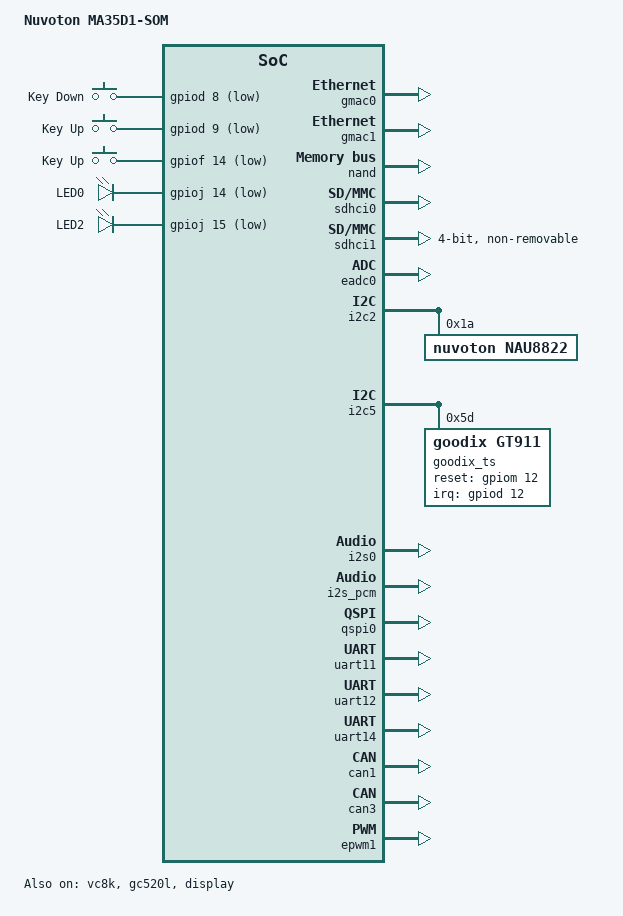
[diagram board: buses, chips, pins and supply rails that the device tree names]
/*
 * Device Tree Source for MA35D1 Evaluation Board (EVB)
 *
 * Copyright (C) 2021 Nuvoton Technology Corp.
 *
 * The code contained herein is licensed under the GNU General Public
 * License. You may obtain a copy of the GNU General Public License
 * Version 2 or later at the following locations:
 *
 * http://www.opensource.org/licenses/gpl-license.html
 * http://www.gnu.org/copyleft/gpl.html
 */

/dts-v1/;

#include "ma35d1.dtsi"

/ {
	model = "Nuvoton MA35D1-SOM";

	chosen {
		bootargs = "root=/dev/mmcblk1p1 rootfstype=ext4 rw rootwait console=ttyS0,115200n8 rdinit=/sbin/init mem=512M";
	};

	reserved-memory {
		display_buf: display_buf@0 {
			reg = <0x0 0x8C800000 0x0 0x3000000>; /* 48MiB */
			no-map;
		};
		vc8k_buf: vc8k_buf@0 {
			reg = <0x0 0x8A800000 0x0 0x2000000>; /* 32MiB */
			no-map;
		};
		gc520l_buf: gc520l_buf@0 {
			reg = <0x0 0x8A000000 0x0 0x800000>; /* 8MiB */
			no-map;
		};
		rproc_buf: rproc_buf@0 {
			reg = <0x0 0x80020000 0x0 0x60000>; /* 384KB */
			no-map;
		};
	};

	gpio_keys_test {
		compatible = "gpio-keys";
		status = "okay";
		autorepeat;
		botton0 {
			label = "Key Down";
			linux,code = <KEY_DOWN>;
			gpios = <&gpiod 8 GPIO_ACTIVE_LOW>;
			wakeup-source;
		};
		button1{
			label ="Key Up";
			linux,code = <KEY_UP>;
			gpios = <&gpiod 9 GPIO_ACTIVE_LOW>;
			wakeup-source;
		};
		button2{
			label ="Key Up";
			linux,code = <KEY_ENTER>;
			gpios = <&gpiof 14 GPIO_ACTIVE_LOW>;
			wakeup-source;
		};
	};

	gpio_leds_test {
		compatible = "gpio-leds";
		status = "okay";
		led0 {
			label = "LED0";
			gpios = <&gpioj 14 GPIO_ACTIVE_LOW>;
		};
		led1 {
			label = "LED2";
			gpios = <&gpioj 15 GPIO_ACTIVE_LOW>;
		};
	};

	volt0_sdhci1: regulator-volt0_sdhci1 {
		compatible = "nuvoton,ma35d1-volt";
		regulator-min-microvolt = <1800000>;
		regulator-max-microvolt = <3300000>;
		regulator-name = "volt0_sdhci1";
		regulator-always-on;
        };
};

&mem {
	device_type = "memory";
	reg = <0x00000000 0x80000000 0 0x40000000>; /* DRAM space - 1, size : 1024MB DRAM */
};

&ccap0 {
        status = "disabled";
	port {
		/* Parallel bus endpoint */
		ccap0_1: endpoint {
			remote-endpoint = <&hm1055_0>;
			hsync-active = <0>;     /* Active low */
			vsync-active = <0>;     /* Active low */
			pclk-sample = <1>;      /* Rising */
		};
	};
};

&i2c3 {
	status = "disabled";
	pinctrl-names = "default";
	pinctrl-0 = <&pinctrl_i2c3>;
	hm1055@24 {
		compatible = "himax,hm1055";
		reg = <0x24>;
		pinctrl-names = "default";
		pinctrl-0 = <&pinctrl_ccap0>;
		clocks = <&clk CCAP0_GATE>;
		clock-names = "xclk";
		reset-gpios = <&gpiom 1 GPIO_ACTIVE_LOW>; /* PM1 */
		powerdown-gpios = <&gpiok 8 GPIO_ACTIVE_HIGH>; /* PK8 */
		port {
			hm1055_0: endpoint {
				remote-endpoint = <&ccap0_1>;
			};
		};
	};
};

&ccap1 {
        status = "disabled";
	port {
		/* Parallel bus endpoint */
		ccap1_1: endpoint {
			remote-endpoint = <&hm1055_1>;
			hsync-active = <0>;     /* Active low */
			vsync-active = <0>;     /* Active low */
			pclk-sample = <1>;      /* Rising */
		};
	};
};

&i2c4 {
	status = "disabled";
	pinctrl-names = "default";
	pinctrl-0 = <&pinctrl_i2c4>;
	hm1055@24 {
		compatible = "himax,hm1055";
		reg = <0x24>;
		pinctrl-names = "default";
                pinctrl-0 = <&pinctrl_ccap1>;
		clocks = <&clk CCAP1_GATE>;
		clock-names = "xclk";
		reset-gpios = <&gpion 14 GPIO_ACTIVE_LOW>; /* PN14 */
		powerdown-gpios = <&gpiod 15 GPIO_ACTIVE_HIGH>; /* PD15 */
		port {
			hm1055_1: endpoint {
				remote-endpoint = <&ccap1_1>;
			};
		};
	};
};

&gmac0 {
	status = "okay";
	pinctrl-names = "default";
	pinctrl-0 = <&pinctrl_gmac0>;
};

&gmac1 {
	status = "okay";
	pinctrl-names = "default";
	pinctrl-0 = <&pinctrl_gmac1>;
};

&ehci0 {
	pinctrl-names = "default";
	pinctrl-0 = <&pinctrl_hsusbh>;
};

&usb {
	pinctrl-names = "default";
	pinctrl-0 = <&pinctrl_usb>;
};

&nand {
	status = "okay";
	pinctrl-names = "default";
	pinctrl-0 = <&pinctrl_nand>;
};

&sdhci0 {
	status = "okay";
	pinctrl-names = "default";
	pinctrl-0 = <&pinctrl_sdhci0>;
};

&sdhci1 {
	status = "okay";
	pinctrl-names = "default";
	pinctrl-1 = <&pinctrl_sdhci1_1_8V>;
	max-frequency = <100000000>;
	bus-width = <4>;
	non-removable;
};

&adc0 {
	pinctrl-names = "default";
	pinctrl-0 = <&pinctrl_adc0>;
};

&eadc0 {
	status = "okay";
	pinctrl-names = "default";
	pinctrl-0 = <&pinctrl_eadc0>;
};

&i2c1 {
	pinctrl-names = "default";
	pinctrl-0 = <&pinctrl_i2c1>;
	status = "disable";

	lt8718: edp-bridge@66 {
		compatible = "nvt, lt8718";
		reg = <0x66>;
		reset-gpios = <&gpiom 12 0x00>;
		clocks = <&clk DCUP_DIV>;
		nuvoton,disp = <&display>;
		lane-count = <2>;
		bl-gpios = <&gpiok 7 GPIO_ACTIVE_HIGH>;
		pwr-gpios = <&gpiok 5 GPIO_ACTIVE_HIGH>;
		bl-brightness = <100>;
		status = "okay";
	};

	lt8918: mipi-bridge@40 {
		compatible = "nvt, lt8918";
		reg = <0x40>;
		clocks = <&clk DCUP_DIV>;
		nuvoton,disp = <&display>;
		status = "disable";
	};
};

&i2c2 {
	status = "okay";
	pinctrl-names = "default";
	pinctrl-0 = <&pinctrl_i2c2>;

	nau8822: nau8822@1a {
		compatible = "nuvoton,nau8822";
		reg = <0x1a> ;
		nuvoton,spk-btl;
	};
};

&i2c5 {
	pinctrl-names = "default";
	pinctrl-0 = <&pinctrl_i2c5>;
	status = "okay";

	goodix_ts@5d {
		compatible = "goodix,gt911";
		status = "okay";
		reg = <0x5d>;
		interrupt-parent = <&gpiod>;
		interrupts = <12 2>;
		reset-gpios = <&gpiom 12 0x00>;
		irq-gpios = <&gpiod 12 0x00>;
		touchscreen-size-x = <1024>;
		touchscreen-size-y = <600>;
		touchscreen-inverted-x = <1>;
		touchscreen-inverted-y = <1>;
	};
};

&i2s0 {
	status = "okay";
	pinctrl-names = "default";
	pinctrl-0 = <&pinctrl_i2s0>;
	powerdown-gpios = <&gpiod 13 GPIO_ACTIVE_HIGH>; /* PD13 */
};

&i2s_pcm {
	status = "okay";
};

&sound {
	status = "okay";
};

&qspi0 {
	status = "okay";
	pinctrl-names = "default";
	pinctrl-0 = <&pinctrl_qspi0>;
};

&vc8k {
	memory-region = <&vc8k_buf>;
	status = "okay";
};

&gc520l {
	memory-region = <&gc520l_buf>;
	status = "okay";
};

&display {
	pinctrl-names = "default";
	pinctrl-0 = <&pinctrl_display0>;
	memory-region = <&display_buf>;
	status = "okay";
};

&uart11 {
	status = "okay";
	pinctrl-names = "default";
	pinctrl-0 = <&pinctrl_uart11>;
};

&uart12 {
	status = "okay";
	pinctrl-names = "default";
	pinctrl-0 = <&pinctrl_uart12>;
};

&uart14 {
	status = "okay";
	pinctrl-names = "default";
	pinctrl-0 = <&pinctrl_uart14>;
};

&uart16 {
	status = "disabled";
	pinctrl-names = "default";
	pinctrl-0 = <&pinctrl_uart16>;
};

&can1 {
	status = "okay";
	pinctrl-names = "default";
	pinctrl-0 = <&pinctrl_can1>;
};

&can3 {
	status = "okay";
	pinctrl-names = "default";
	pinctrl-0 = <&pinctrl_can3>;
};

&epwm1 {
	status = "okay";
	pinctrl-names = "default";
	pinctrl-0 = <&pinctrl_epwm1>;
};

&ebi0 {
	pinctrl-names = "default";
	pinctrl-0 = <&pinctrl_ebi0_16bit>;
};

&pinctrl {
	gmac0 {
		pinctrl_gmac0: gmac0grp{
			nuvoton,pins =
				<SYS_GPE_MFPL_PE0MFP_RGMII0_MDC		&pcfg_emac_1_8V>,
				<SYS_GPE_MFPL_PE1MFP_RGMII0_MDIO	&pcfg_emac_1_8V>,
				<SYS_GPE_MFPL_PE2MFP_RGMII0_TXCTL	&pcfg_emac_1_8V>,
				<SYS_GPE_MFPL_PE3MFP_RGMII0_TXD0	&pcfg_emac_1_8V>,
				<SYS_GPE_MFPL_PE4MFP_RGMII0_TXD1	&pcfg_emac_1_8V>,
				<SYS_GPE_MFPL_PE5MFP_RGMII0_RXCLK	&pcfg_emac_1_8V>,
				<SYS_GPE_MFPL_PE6MFP_RGMII0_RXCTL	&pcfg_emac_1_8V>,
				<SYS_GPE_MFPL_PE7MFP_RGMII0_RXD0	&pcfg_emac_1_8V>,
				<SYS_GPE_MFPH_PE8MFP_RGMII0_RXD1	&pcfg_emac_1_8V>,
				<SYS_GPE_MFPH_PE9MFP_RGMII0_RXD2	&pcfg_emac_1_8V>,
				<SYS_GPE_MFPH_PE10MFP_RGMII0_RXD3	&pcfg_emac_1_8V>,
				<SYS_GPE_MFPH_PE11MFP_RGMII0_TXCLK	&pcfg_emac_1_8V>,
				<SYS_GPE_MFPH_PE12MFP_RGMII0_TXD2	&pcfg_emac_1_8V>,
				<SYS_GPE_MFPH_PE13MFP_RGMII0_TXD3	&pcfg_emac_1_8V>;
		};
	};

	gmac1 {
		pinctrl_gmac1: gmac1grp{
			nuvoton,pins =
				<SYS_GPF_MFPL_PF0MFP_RGMII1_MDC		&pcfg_emac_1_8V>,
				<SYS_GPF_MFPL_PF1MFP_RGMII1_MDIO	&pcfg_emac_1_8V>,
				<SYS_GPF_MFPL_PF2MFP_RGMII1_TXCTL	&pcfg_emac_1_8V>,
				<SYS_GPF_MFPL_PF3MFP_RGMII1_TXD0	&pcfg_emac_1_8V>,
				<SYS_GPF_MFPL_PF4MFP_RGMII1_TXD1	&pcfg_emac_1_8V>,
				<SYS_GPF_MFPL_PF5MFP_RGMII1_RXCLK	&pcfg_emac_1_8V>,
				<SYS_GPF_MFPL_PF6MFP_RGMII1_RXCTL	&pcfg_emac_1_8V>,
				<SYS_GPF_MFPL_PF7MFP_RGMII1_RXD0	&pcfg_emac_1_8V>,
				<SYS_GPF_MFPH_PF8MFP_RGMII1_RXD1	&pcfg_emac_1_8V>,
				<SYS_GPF_MFPH_PF9MFP_RGMII1_RXD2	&pcfg_emac_1_8V>,
				<SYS_GPF_MFPH_PF10MFP_RGMII1_RXD3	&pcfg_emac_1_8V>,
				<SYS_GPF_MFPH_PF11MFP_RGMII1_TXCLK	&pcfg_emac_1_8V>,
				<SYS_GPF_MFPH_PF12MFP_RGMII1_TXD2	&pcfg_emac_1_8V>,
				<SYS_GPF_MFPH_PF13MFP_RGMII1_TXD3	&pcfg_emac_1_8V>;
		};
	};

	hsusbh {
		pinctrl_hsusbh: hsusbhgrp{
			nuvoton,pins =
				<SYS_GPL_MFPH_PL12MFP_HSUSBH_PWREN	&pcfg_default>,
				<SYS_GPL_MFPH_PL13MFP_HSUSBH_OVC	&pcfg_default>;
		};
	};

	adc0 {
		pinctrl_adc0: adc0grp {
			nuvoton,pins =
				<SYS_GPB_MFPH_PB8MFP_ADC0_CH0	&pcfg_default>;
		};
	};

	eadc0 {
		pinctrl_eadc0: eadc0grp{
			nuvoton,pins =
				<SYS_GPB_MFPL_PB0MFP_EADC0_CH0	&pcfg_default>,
				<SYS_GPB_MFPL_PB1MFP_EADC0_CH1	&pcfg_default>,
				<SYS_GPB_MFPL_PB2MFP_EADC0_CH2	&pcfg_default>,
				<SYS_GPB_MFPL_PB3MFP_EADC0_CH3	&pcfg_default>,
				<SYS_GPB_MFPL_PB4MFP_EADC0_CH4	&pcfg_default>,
				<SYS_GPB_MFPL_PB5MFP_EADC0_CH5	&pcfg_default>,
				<SYS_GPB_MFPL_PB6MFP_EADC0_CH6	&pcfg_default>,
				<SYS_GPB_MFPL_PB7MFP_EADC0_CH7	&pcfg_default>;
		};
	};

	i2c1 {
		pinctrl_i2c1: i2c1grp{
			nuvoton,pins =
				<SYS_GPB_MFPH_PB10MFP_I2C1_SDA	&pcfg_default>,
				<SYS_GPB_MFPH_PB11MFP_I2C1_SCL	&pcfg_default>;
		};
	};

	i2c2 {
		pinctrl_i2c2: i2c2grp{
			nuvoton,pins =
				<SYS_GPB_MFPH_PB8MFP_I2C2_SDA	&pcfg_default>,
				<SYS_GPB_MFPH_PB9MFP_I2C2_SCL	&pcfg_default>;
		};
	};

	i2c3 {
		pinctrl_i2c3: i2c3grp{
			nuvoton,pins =
				<SYS_GPM_MFPH_PM14MFP_I2C3_SDA	&pcfg_default>,
				<SYS_GPM_MFPH_PM15MFP_I2C3_SCL	&pcfg_default>;
		};
	};

	i2c4 {
		pinctrl_i2c4: i2c4grp{
			nuvoton,pins =
				<SYS_GPL_MFPL_PL4MFP_I2C4_SDA	&pcfg_default>,
				<SYS_GPL_MFPL_PL5MFP_I2C4_SCL	&pcfg_default>;
		};
	};

	i2c5 {
		pinctrl_i2c5: i2c5grp{
			nuvoton,pins =
				<SYS_GPJ_MFPH_PJ12MFP_I2C5_SDA	&pcfg_default>,
				<SYS_GPJ_MFPH_PJ13MFP_I2C5_SCL	&pcfg_default>;
		};
	};

	i2s0 {
		pinctrl_i2s0: i2s0grp{
			nuvoton,pins =
				<SYS_GPN_MFPH_PN15MFP_I2S0_MCLK	&pcfg_default>,
				<SYS_GPK_MFPH_PK12MFP_I2S0_LRCK	&pcfg_default>,
				<SYS_GPK_MFPH_PK13MFP_I2S0_BCLK	&pcfg_default>,
				<SYS_GPK_MFPH_PK14MFP_I2S0_DI	&pcfg_default>,
				<SYS_GPK_MFPH_PK15MFP_I2S0_DO	&pcfg_default>;
		};
	};

	qspi0 {
		pinctrl_qspi0: qspi0grp{
			nuvoton,pins =
				<SYS_GPD_MFPL_PD0MFP_QSPI0_SS0		&pcfg_default>,
				<SYS_GPD_MFPL_PD1MFP_QSPI0_CLK		&pcfg_default>,
				<SYS_GPD_MFPL_PD2MFP_QSPI0_MOSI0	&pcfg_default>,
				<SYS_GPD_MFPL_PD3MFP_QSPI0_MISO0	&pcfg_default>,
				<SYS_GPD_MFPL_PD4MFP_QSPI0_MOSI1	&pcfg_default>,
				<SYS_GPD_MFPL_PD5MFP_QSPI0_MISO1	&pcfg_default>;
		};
	};

	usb {
		pinctrl_usb: usbgrp{
			nuvoton,pins =
				<SYS_GPF_MFPH_PF15MFP_HSUSB0_VBUSVLD	&pcfg_default>;
		};
	};

	nand {
		pinctrl_nand: nandgrp{
			nuvoton,pins =
				<SYS_GPA_MFPL_PA0MFP_NAND_DATA0	&pcfg_default>,
				<SYS_GPA_MFPL_PA1MFP_NAND_DATA1	&pcfg_default>,
				<SYS_GPA_MFPL_PA2MFP_NAND_DATA2	&pcfg_default>,
				<SYS_GPA_MFPL_PA3MFP_NAND_DATA3	&pcfg_default>,
				<SYS_GPA_MFPL_PA4MFP_NAND_DATA4	&pcfg_default>,
				<SYS_GPA_MFPL_PA5MFP_NAND_DATA5	&pcfg_default>,
				<SYS_GPA_MFPL_PA6MFP_NAND_DATA6	&pcfg_default>,
				<SYS_GPA_MFPL_PA7MFP_NAND_DATA7	&pcfg_default>,
				<SYS_GPA_MFPH_PA8MFP_NAND_RDY	&pcfg_default>,
				<SYS_GPA_MFPH_PA9MFP_NAND_nRE	&pcfg_default>,
				<SYS_GPA_MFPH_PA10MFP_NAND_nWE	&pcfg_default>,
				<SYS_GPA_MFPH_PA11MFP_NAND_CLE	&pcfg_default>,
				<SYS_GPA_MFPH_PA12MFP_NAND_ALE	&pcfg_default>,
				<SYS_GPA_MFPH_PA13MFP_NAND_nCS	&pcfg_default>,
				<SYS_GPA_MFPH_PA14MFP_NAND_nWP	&pcfg_default>;
		};
	};

	sdhci0 {
		pinctrl_sdhci0: sdhci0grp{
			nuvoton,pins =
				<SYS_GPC_MFPL_PC0MFP_eMMC0_CMD	&pcfg_sdhci_drive2_3_3V>,
				<SYS_GPC_MFPL_PC1MFP_eMMC0_CLK	&pcfg_sdhci_drive2_3_3V>,
				<SYS_GPC_MFPL_PC2MFP_eMMC0_DAT0	&pcfg_sdhci_drive2_3_3V>,
				<SYS_GPC_MFPL_PC3MFP_eMMC0_DAT1	&pcfg_sdhci_drive2_3_3V>,
				<SYS_GPC_MFPL_PC4MFP_eMMC0_DAT2	&pcfg_sdhci_drive2_3_3V>,
				<SYS_GPC_MFPL_PC5MFP_eMMC0_DAT3	&pcfg_sdhci_drive2_3_3V>,
				<SYS_GPC_MFPL_PC6MFP_SD0_nCD	&pcfg_default>,
				<SYS_GPC_MFPL_PC7MFP_SD0_WP	&pcfg_default>;
		};
	};

	sdhci1 {
		pinctrl_sdhci1_3_3V: sdhci1_3_3Vgrp{
			nuvoton,pins =
				<SYS_GPJ_MFPL_PJ0MFP_eMMC1_DAT4	&pcfg_sdhci_drive2_3_3V>,
				<SYS_GPJ_MFPL_PJ1MFP_eMMC1_DAT5	&pcfg_sdhci_drive2_3_3V>,
				<SYS_GPJ_MFPL_PJ2MFP_eMMC1_DAT6	&pcfg_sdhci_drive2_3_3V>,
				<SYS_GPJ_MFPL_PJ3MFP_eMMC1_DAT7	&pcfg_sdhci_drive2_3_3V>,
				<SYS_GPJ_MFPL_PJ4MFP_SD1_WP	&pcfg_default>,
				<SYS_GPJ_MFPL_PJ5MFP_SD1_nCD	&pcfg_default>,
				<SYS_GPJ_MFPL_PJ6MFP_eMMC1_CMD	&pcfg_sdhci_drive2_3_3V>,
				<SYS_GPJ_MFPL_PJ7MFP_eMMC1_CLK	&pcfg_sdhci_drive2_3_3V>,
				<SYS_GPJ_MFPH_PJ8MFP_eMMC1_DAT0	&pcfg_sdhci_drive2_3_3V>,
				<SYS_GPJ_MFPH_PJ9MFP_eMMC1_DAT1	&pcfg_sdhci_drive2_3_3V>,
				<SYS_GPJ_MFPH_PJ10MFP_eMMC1_DAT2	&pcfg_sdhci_drive2_3_3V>,
				<SYS_GPJ_MFPH_PJ11MFP_eMMC1_DAT3	&pcfg_sdhci_drive2_3_3V>;
		};

		pinctrl_sdhci1_1_8V: sdhci1_1_8Vgrp{
			nuvoton,pins =
				<SYS_GPJ_MFPL_PJ0MFP_eMMC1_DAT4	&pcfg_sdhci_drive0_1_8V>,
				<SYS_GPJ_MFPL_PJ1MFP_eMMC1_DAT5	&pcfg_sdhci_drive0_1_8V>,
				<SYS_GPJ_MFPL_PJ2MFP_eMMC1_DAT6	&pcfg_sdhci_drive0_1_8V>,
				<SYS_GPJ_MFPL_PJ3MFP_eMMC1_DAT7	&pcfg_sdhci_drive0_1_8V>,
				/* <SYS_GPJ_MFPL_PJ4MFP_SD1_WP	&pcfg_default>, */
				/* <SYS_GPJ_MFPL_PJ5MFP_SD1_nCD	&pcfg_default>, */
				<SYS_GPJ_MFPL_PJ6MFP_eMMC1_CMD	&pcfg_sdhci_drive4_1_8V>,
				<SYS_GPJ_MFPL_PJ7MFP_eMMC1_CLK	&pcfg_sdhci_drive4_1_8V>,
				<SYS_GPJ_MFPH_PJ8MFP_eMMC1_DAT0	&pcfg_sdhci_drive4_1_8V>,
				<SYS_GPJ_MFPH_PJ9MFP_eMMC1_DAT1	&pcfg_sdhci_drive4_1_8V>,
				<SYS_GPJ_MFPH_PJ10MFP_eMMC1_DAT2	&pcfg_sdhci_drive4_1_8V>,
				<SYS_GPJ_MFPH_PJ11MFP_eMMC1_DAT3	&pcfg_sdhci_drive4_1_8V>;
		};
	};

	ccap0 {
		pinctrl_ccap0: ccap0grp{
			nuvoton,pins =
				<SYS_GPK_MFPH_PK9MFP_CCAP0_SCLK		&pcfg_default>,
				<SYS_GPK_MFPH_PK10MFP_CCAP0_PIXCLK	&pcfg_default>,
				<SYS_GPK_MFPH_PK11MFP_CCAP0_HSYNC	&pcfg_default>,
				<SYS_GPM_MFPL_PM0MFP_CCAP0_VSYNC	&pcfg_default>,
				<SYS_GPM_MFPL_PM2MFP_CCAP0_DATA0	&pcfg_default>,
				<SYS_GPM_MFPL_PM3MFP_CCAP0_DATA1	&pcfg_default>,
				<SYS_GPM_MFPL_PM4MFP_CCAP0_DATA2	&pcfg_default>,
				<SYS_GPM_MFPL_PM5MFP_CCAP0_DATA3	&pcfg_default>,
				<SYS_GPM_MFPL_PM6MFP_CCAP0_DATA4	&pcfg_default>,
				<SYS_GPM_MFPL_PM7MFP_CCAP0_DATA5	&pcfg_default>,
				<SYS_GPM_MFPH_PM8MFP_CCAP0_DATA6	&pcfg_default>,
				<SYS_GPM_MFPH_PM9MFP_CCAP0_DATA7	&pcfg_default>;
		};
	};

	ccap1 {
		pinctrl_ccap1: ccap1grp{
			nuvoton,pins =
				<SYS_GPN_MFPL_PN0MFP_CCAP1_DATA0	&pcfg_default>,
				<SYS_GPN_MFPL_PN1MFP_CCAP1_DATA1	&pcfg_default>,
				<SYS_GPN_MFPL_PN2MFP_CCAP1_DATA2	&pcfg_default>,
				<SYS_GPN_MFPL_PN3MFP_CCAP1_DATA3	&pcfg_default>,
				<SYS_GPN_MFPL_PN4MFP_CCAP1_DATA4	&pcfg_default>,
				<SYS_GPN_MFPL_PN5MFP_CCAP1_DATA5	&pcfg_default>,
				<SYS_GPN_MFPL_PN6MFP_CCAP1_DATA6	&pcfg_default>,
				<SYS_GPN_MFPL_PN7MFP_CCAP1_DATA7	&pcfg_default>,
				<SYS_GPN_MFPH_PN10MFP_CCAP1_SCLK	&pcfg_default>,
				<SYS_GPN_MFPH_PN11MFP_CCAP1_PIXCLK	&pcfg_default>,
				<SYS_GPN_MFPH_PN12MFP_CCAP1_HSYNC	&pcfg_default>,
				<SYS_GPN_MFPH_PN13MFP_CCAP1_VSYNC	&pcfg_default>;
		};
	};

	display {
		pinctrl_display0: display0grp{
			nuvoton,pins =
				<SYS_GPG_MFPH_PG8MFP_LCM_VSYNC		&pcfg_default>,
				<SYS_GPG_MFPH_PG9MFP_LCM_HSYNC		&pcfg_default>,
				<SYS_GPG_MFPH_PG10MFP_LCM_CLK		&pcfg_default>,
				<SYS_GPK_MFPL_PK4MFP_LCM_DEN		&pcfg_default>,
				<SYS_GPI_MFPH_PI8MFP_LCM_DATA0		&pcfg_default>,
				<SYS_GPI_MFPH_PI9MFP_LCM_DATA1		&pcfg_default>,
				<SYS_GPI_MFPH_PI10MFP_LCM_DATA2		&pcfg_default>,
				<SYS_GPI_MFPH_PI11MFP_LCM_DATA3		&pcfg_default>,
				<SYS_GPI_MFPH_PI12MFP_LCM_DATA4		&pcfg_default>,
				<SYS_GPI_MFPH_PI13MFP_LCM_DATA5		&pcfg_default>,
				<SYS_GPI_MFPH_PI14MFP_LCM_DATA6		&pcfg_default>,
				<SYS_GPI_MFPH_PI15MFP_LCM_DATA7		&pcfg_default>,
				<SYS_GPH_MFPL_PH0MFP_LCM_DATA8		&pcfg_default>,
				<SYS_GPH_MFPL_PH1MFP_LCM_DATA9		&pcfg_default>,
				<SYS_GPH_MFPL_PH2MFP_LCM_DATA10		&pcfg_default>,
				<SYS_GPH_MFPL_PH3MFP_LCM_DATA11		&pcfg_default>,
				<SYS_GPH_MFPL_PH4MFP_LCM_DATA12		&pcfg_default>,
				<SYS_GPH_MFPL_PH5MFP_LCM_DATA13		&pcfg_default>,
				<SYS_GPH_MFPL_PH6MFP_LCM_DATA14		&pcfg_default>,
				<SYS_GPH_MFPL_PH7MFP_LCM_DATA15		&pcfg_default>,
				<SYS_GPC_MFPH_PC12MFP_LCM_DATA16	&pcfg_default>,
				<SYS_GPC_MFPH_PC13MFP_LCM_DATA17	&pcfg_default>,
				<SYS_GPC_MFPH_PC14MFP_LCM_DATA18	&pcfg_default>,
				<SYS_GPC_MFPH_PC15MFP_LCM_DATA19	&pcfg_default>,
				<SYS_GPH_MFPH_PH12MFP_LCM_DATA20	&pcfg_default>,
				<SYS_GPH_MFPH_PH13MFP_LCM_DATA21	&pcfg_default>,
				<SYS_GPH_MFPH_PH14MFP_LCM_DATA22	&pcfg_default>,
				<SYS_GPH_MFPH_PH15MFP_LCM_DATA23	&pcfg_default>;
		};
	};

	uart11 {
		pinctrl_uart11: uart11grp{
			nuvoton,pins =
				<SYS_GPL_MFPL_PL0MFP_UART11_nCTS	&pcfg_default>,
				<SYS_GPL_MFPL_PL1MFP_UART11_nRTS	&pcfg_default>,
				<SYS_GPL_MFPL_PL2MFP_UART11_RXD		&pcfg_default>,
				<SYS_GPL_MFPL_PL3MFP_UART11_TXD		&pcfg_default>;
		};
	};

	uart12 {
		pinctrl_uart12: uart12grp{
			nuvoton,pins =
				<SYS_GPI_MFPL_PI1MFP_UART12_nRTS	&pcfg_default>,
				<SYS_GPI_MFPL_PI2MFP_UART12_RXD		&pcfg_default>,
				<SYS_GPI_MFPL_PI3MFP_UART12_TXD		&pcfg_default>;
		};
	};

	uart14 {
		pinctrl_uart14: uart14grp{
			nuvoton,pins =
				<SYS_GPI_MFPL_PI5MFP_UART14_nRTS	&pcfg_default>,
				<SYS_GPI_MFPL_PI6MFP_UART14_RXD		&pcfg_default>,
				<SYS_GPI_MFPL_PI7MFP_UART14_TXD		&pcfg_default>;
		};
	};

	uart16 {
		pinctrl_uart16: uart16grp{
			nuvoton,pins =
				<SYS_GPK_MFPL_PK0MFP_UART16_nCTS	&pcfg_default>,
				<SYS_GPK_MFPL_PK1MFP_UART16_nRTS	&pcfg_default>,
				<SYS_GPK_MFPL_PK2MFP_UART16_RXD		&pcfg_default>,
				<SYS_GPK_MFPL_PK3MFP_UART16_TXD		&pcfg_default>;
		};
	};

	can1 {
		pinctrl_can1: can1grp{
			nuvoton,pins =
				<SYS_GPL_MFPH_PL14MFP_CAN1_RXD	&pcfg_default>,
				<SYS_GPL_MFPH_PL15MFP_CAN1_TXD	&pcfg_default>;
		};
	};

	can3 {
		pinctrl_can3: can3grp{
			nuvoton,pins =
				<SYS_GPL_MFPH_PL10MFP_CAN3_RXD	&pcfg_default>,
				<SYS_GPL_MFPH_PL11MFP_CAN3_TXD	&pcfg_default>;
		};
	};

	epwm1 {
		pinctrl_epwm1: epwm1grp{
			nuvoton,pins =
				<SYS_GPM_MFPH_PM13MFP_EPWM1_CH5	&pcfg_default>;
		};
	};

	ebi0 {
		pinctrl_ebi0_16bit: ebi0_16bitgrp{
			nuvoton,pins =
				<SYS_GPG_MFPH_PG11MFP_EBI_AD0		&pcfg_default>,
				<SYS_GPG_MFPH_PG12MFP_EBI_AD1		&pcfg_default>,
				<SYS_GPG_MFPH_PG13MFP_EBI_AD2		&pcfg_default>,
				<SYS_GPG_MFPH_PG14MFP_EBI_AD3		&pcfg_default>,
				<SYS_GPG_MFPH_PG15MFP_EBI_AD4		&pcfg_default>,
				<SYS_GPL_MFPL_PL6MFP_EBI_AD5		&pcfg_default>,
				<SYS_GPL_MFPL_PL7MFP_EBI_AD6		&pcfg_default>,
				<SYS_GPL_MFPH_PL8MFP_EBI_AD7		&pcfg_default>,
				<SYS_GPL_MFPH_PL9MFP_EBI_AD8		&pcfg_default>,
				<SYS_GPD_MFPH_PD10MFP_EBI_AD9		&pcfg_default>,
				<SYS_GPD_MFPH_PD11MFP_EBI_AD10	&pcfg_default>,
				<SYS_GPL_MFPL_PL0MFP_EBI_AD11		&pcfg_default>,
				<SYS_GPL_MFPL_PL1MFP_EBI_AD12		&pcfg_default>,
				<SYS_GPL_MFPL_PL2MFP_EBI_AD13		&pcfg_default>,
				<SYS_GPL_MFPL_PL3MFP_EBI_AD14		&pcfg_default>,
				<SYS_GPG_MFPL_PG0MFP_EBI_AD15		&pcfg_default>,
				<SYS_GPI_MFPL_PI0MFP_EBI_ADR0		&pcfg_default>,
				<SYS_GPI_MFPL_PI1MFP_EBI_ADR1		&pcfg_default>,
				<SYS_GPI_MFPL_PI2MFP_EBI_ADR2		&pcfg_default>,
				<SYS_GPI_MFPL_PI3MFP_EBI_ADR3		&pcfg_default>,
				<SYS_GPI_MFPL_PI4MFP_EBI_ADR4		&pcfg_default>,
				<SYS_GPI_MFPL_PI5MFP_EBI_ADR5		&pcfg_default>,
				<SYS_GPI_MFPL_PI6MFP_EBI_ADR6		&pcfg_default>,
				<SYS_GPI_MFPL_PI7MFP_EBI_ADR7		&pcfg_default>,
				<SYS_GPK_MFPL_PK0MFP_EBI_ADR8		&pcfg_default>,
				<SYS_GPK_MFPL_PK1MFP_EBI_ADR9		&pcfg_default>,
				<SYS_GPK_MFPL_PK2MFP_EBI_ADR10	&pcfg_default>,
				<SYS_GPK_MFPL_PK3MFP_EBI_ADR11	&pcfg_default>,
				<SYS_GPJ_MFPH_PJ12MFP_EBI_ADR12	&pcfg_default>,
				<SYS_GPJ_MFPH_PJ13MFP_EBI_ADR13	&pcfg_default>,
				<SYS_GPJ_MFPH_PJ14MFP_EBI_ADR14	&pcfg_default>,
				<SYS_GPJ_MFPH_PJ15MFP_EBI_ADR15	&pcfg_default>,
				<SYS_GPG_MFPL_PG2MFP_EBI_ADR16	&pcfg_default>,
				<SYS_GPG_MFPL_PG3MFP_EBI_ADR17	&pcfg_default>,
				<SYS_GPG_MFPL_PG4MFP_EBI_ADR18	&pcfg_default>,
				<SYS_GPG_MFPL_PG5MFP_EBI_ADR19	&pcfg_default>,
				<SYS_GPA_MFPH_PA15MFP_EBI_ALE		&pcfg_default>,
				<SYS_GPG_MFPL_PG1MFP_EBI_nCS0		&pcfg_default>,
				<SYS_GPD_MFPH_PD12MFP_EBI_nCS1	&pcfg_default>,
				<SYS_GPD_MFPH_PD13MFP_EBI_nCS2	&pcfg_default>,
				<SYS_GPB_MFPH_PB10MFP_EBI_MCLK	&pcfg_default>,
				<SYS_GPG_MFPL_PG6MFP_EBI_nRD		&pcfg_default>,
				<SYS_GPG_MFPL_PG7MFP_EBI_nWR		&pcfg_default>,
				<SYS_GPL_MFPH_PL11MFP_EBI_nWRL	&pcfg_default>,
				<SYS_GPL_MFPH_PL10MFP_EBI_nWRH	&pcfg_default>;
		};
	};

};
